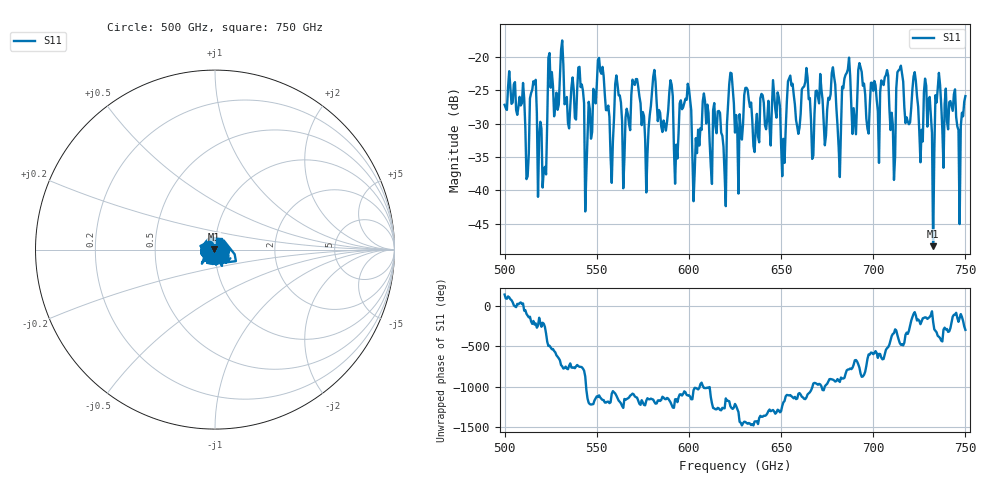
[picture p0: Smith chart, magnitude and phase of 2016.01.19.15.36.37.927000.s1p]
!Created with skrf (http://scikit-rf.org).
# GHz S RI R 50.0
!freq ReS11 ImS11
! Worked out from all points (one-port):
!   401 points, 500 GHz to 750 GHz, reference 50 ohm
!   lowest |S11| = -48.3 dB at 732.5 GHz (marker M1), VSWR 1.01, Z = 49.6 + j0.0973 ohm
!   |S11| at or under -10 dB: start of sweep to end of sweep
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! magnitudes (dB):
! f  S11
! 500 GHz  -27.2
! 512.5 GHz  -37.9
! 515.6 GHz  -23.6
! 521.2 GHz  -36.9
! 525 GHz  -24.6
! 531.2 GHz  -17.5
! 545 GHz  -31.9
! 551.9 GHz  -22.1
! 558.1 GHz  -38.9
! 562.5 GHz  -25.8
! 576.9 GHz  -40.3
! 590 GHz  -23.5
! 593.8 GHz  -35.2
! 625 GHz  -31.3
! 651.2 GHz  -32.3
! 656.2 GHz  -24.0
! 678.1 GHz  -21.5
! 681.2 GHz  -33.6
! 687.5 GHz  -22.9
! 706.9 GHz  -22.7
! 710.6 GHz  -30.2
! 714.4 GHz  -21.8
! 718.8 GHz  -29.7
! 722.5 GHz  -22.3
! 732.5 GHz  -48.3
! 735 GHz  -24.7
! 746.2 GHz  -30.9
! 750 GHz  -25.9
